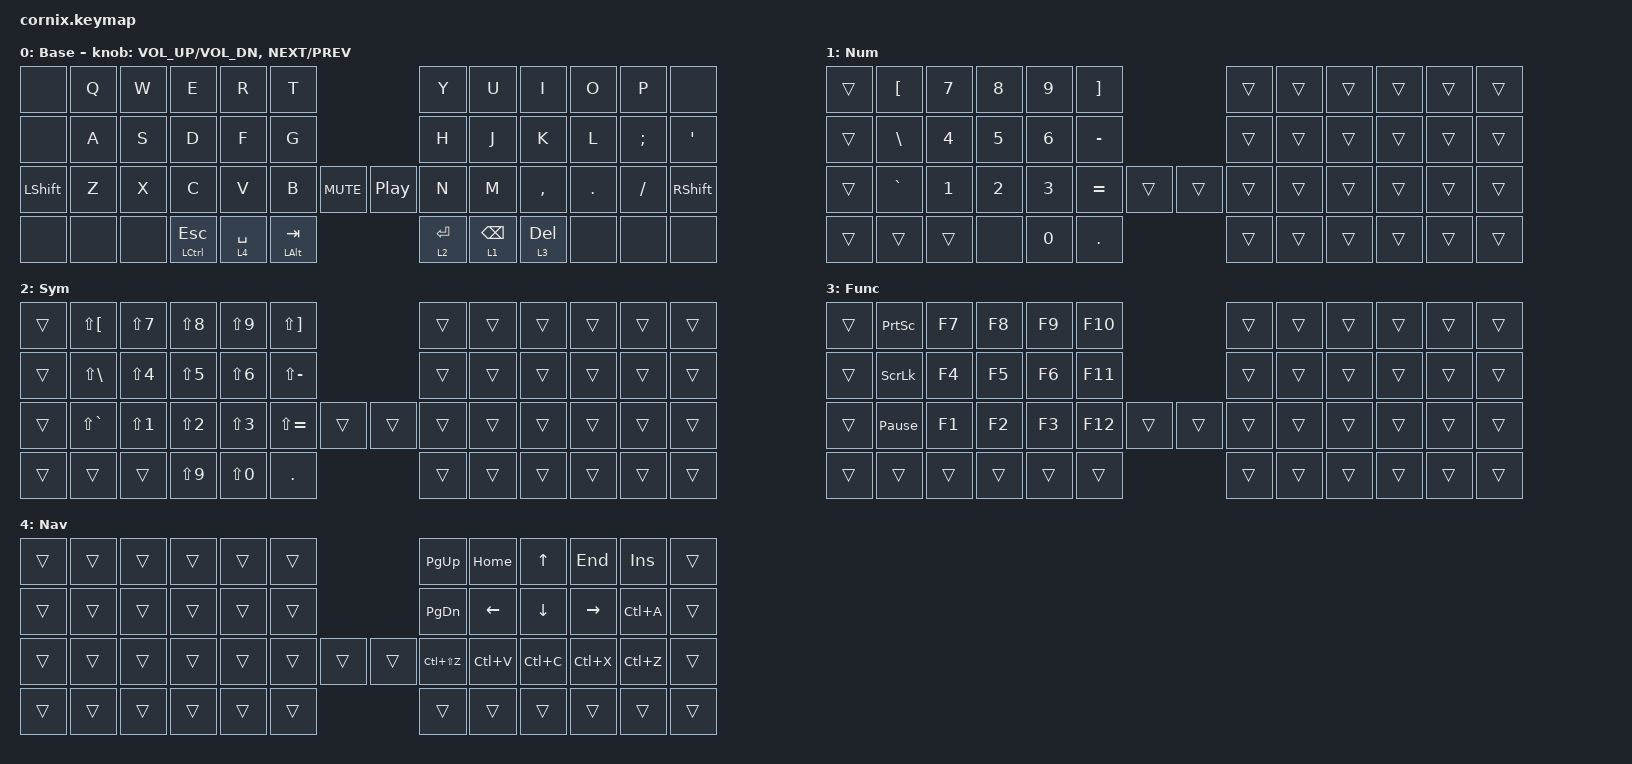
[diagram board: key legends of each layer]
/*
 * Copyright (c) 2020 The ZMK Contributors
 *
 * SPDX-License-Identifier: MIT
 */

#include "zmk-helpers/helper.h"
#include "includes/cornix54.h"

// tap windows for ctl alt and gui

#define HM_TAPPING_TERM 250
#define HM_TAPPING_REPEAT 210

// https://github.com/urob/zmk-config/tree/main#timeless-homerow-mods

#define KEYS_L LT0 LT1 LT2 LT3 LT4 LT5 LM0 LM1 LM2 LM3 LM4 LM5 LB0 LB1 LB2 LB3 LB4 LB5  // left hand
#define KEYS_R RT0 RT1 RT2 RT3 RT4 RT5 RM0 RM1 RM2 RM3 RM4 RM5 RB0 RB1 RB2 RB3 RB4 RB5  // right hand
#define THUMBS LH1 LH0 RH0 RH1
#define KEYS_T LH1 LH0 RH0 RH1
#define ZMK_POINTING_DEFAULT_SCRL_VAL 15

#include <behaviors.dtsi>
#include <dt-bindings/zmk/keys.h>

/ {
    // Activate ADJUST layer by pressing raise and lower

    behaviors {
        hr: homerow {
            compatible = "zmk,behavior-hold-tap";
            #binding-cells = <2>;
            bindings = <&kp>, <&kp>;

            flavor = "tap-preferred";
            tapping-term-ms = <180>;
            quick-tap-ms = <130>;
            require-prior-idle-ms = <130>;
            hold-trigger-on-release;
        };

        hr_shft: homerow_shift {
            compatible = "zmk,behavior-hold-tap";
            #binding-cells = <2>;
            bindings = <&kp>, <&kp>;

            flavor = "balanced";
            tapping-term-ms = <180>;
            quick-tap-ms = <130>;
        };

        sb_lt: spacebar_layertap {
            compatible = "zmk,behavior-hold-tap";
            bindings = <&mo>, <&kp>;

            #binding-cells = <2>;
            tapping-term-ms = <200>;
            quick-tap-ms = <130>;
            flavor = "balanced";
        };

        cw: capsword {
            compatible = "zmk,behavior-caps-word";
            label = "CW";
            #binding-cells = <0>;
            continue-list = <UNDERSCORE MINUS BACKSPACE>;
        };
    };

    conditional_layers { compatible = "zmk,conditional-layers"; };

    combos {
        compatible = "zmk,combos";

        cb_lgui {
            bindings = <&kp LGUI>;
            key-positions = <13 14>;
            require-prior-idle-ms = <130>;
            timeout-ms = <40>;
        };

        cb_rgui {
            bindings = <&kp RGUI>;
            key-positions = <22 21>;
            require-prior-idle-ms = <130>;
            timeout-ms = <40>;
        };

        cb_quote {
            bindings = <&kp SQT>;
            key-positions = <35 34>;
            timeout-ms = <30>;
            require-prior-idle-ms = <130>;
        };

        cb_capsword {
            bindings = <&cw>;
            key-positions = <37 24>;
            require-prior-idle-ms = <130>;
            timeout-ms = <30>;
        };

        cb_lalt {
            bindings = <&kp LEFT_ALT>;
            key-positions = <14 15>;
            require-prior-idle-ms = <130>;
            timeout-ms = <30>;
        };

        cb_lctrl {
            bindings = <&kp LCTRL>;
            key-positions = <15 16>;
            require-prior-idle-ms = <130>;
            timeout-ms = <30>;
        };

        cb_ralt {
            bindings = <&kp LALT>;
            key-positions = <20 21>;
            require-prior-idle-ms = <130>;
            timeout-ms = <30>;
        };

        cb_rctrl {
            bindings = <&kp LCTRL>;
            key-positions = <19 20>;
            require-prior-idle-ms = <130>;
            timeout-ms = <30>;
        };
    };

    keymap {
        compatible = "zmk,keymap";

        Base {
            display-name = "Base";
            bindings = <
&none      &kp Q  &kp W  &kp E             &kp R           &kp T                               &kp Y        &kp U               &kp I         &kp O    &kp P          &none
&none      &kp A  &kp S  &kp D             &kp F           &kp G                               &kp H        &kp J               &kp K         &kp L    &kp SEMICOLON  &kp SQT
&kp LSHFT  &kp Z  &kp X  &kp C             &kp V           &kp B         &kp C_MUTE  &kp C_PP  &kp N        &kp M               &kp COMMA     &kp DOT  &kp FSLH       &kp RSHFT
&none      &none  &none  &mt LCTRL ESCAPE  &sb_lt 4 SPACE  &mt LALT TAB                        &lt 2 ENTER  &sb_lt 1 BACKSPACE  &lt 3 DELETE  &none    &none          &none
            >;

            sensor-bindings =
                <&inc_dec_kp C_VOL_UP C_VOL_DN>,
                <&inc_dec_kp C_NEXT C_PREV>;
        };

        Number {
            display-name = "Num";
            bindings = <
&trans  &kp LBKT       &kp N7  &kp N8  &kp N9  &kp RBKT                   &trans  &trans  &trans  &trans  &trans  &trans
&trans  &kp BACKSLASH  &kp N4  &kp N5  &kp N6  &kp MINUS                  &trans  &trans  &trans  &trans  &trans  &trans
&trans  &kp GRAVE      &kp N1  &kp N2  &kp N3  &kp EQUAL  &trans  &trans  &trans  &trans  &trans  &trans  &trans  &trans
&trans  &trans         &trans  &none   &kp N0  &kp DOT                    &trans  &trans  &trans  &trans  &trans  &trans
            >;
        };

        Symbol {
            display-name = "Sym";
            bindings = <
&trans  &kp LS(LBKT)       &kp LS(N7)  &kp LS(N8)  &kp LS(N9)  &kp LS(RBKT)                   &trans  &trans  &trans  &trans  &trans  &trans
&trans  &kp LS(BACKSLASH)  &kp LS(N4)  &kp LS(N5)  &kp LS(N6)  &kp LS(MINUS)                  &trans  &trans  &trans  &trans  &trans  &trans
&trans  &kp LS(GRAVE)      &kp LS(N1)  &kp LS(N2)  &kp LS(N3)  &kp LS(EQUAL)  &trans  &trans  &trans  &trans  &trans  &trans  &trans  &trans
&trans  &trans             &trans      &kp LS(N9)  &kp LS(N0)  &kp DOT                        &trans  &trans  &trans  &trans  &trans  &trans
            >;
        };

        Function {
            display-name = "Func";
            bindings = <
&trans  &kp PRINTSCREEN  &kp F7  &kp F8  &kp F9  &kp F10                  &trans  &trans  &trans  &trans  &trans  &trans
&trans  &kp SLCK         &kp F4  &kp F5  &kp F6  &kp F11                  &trans  &trans  &trans  &trans  &trans  &trans
&trans  &kp PAUSE_BREAK  &kp F1  &kp F2  &kp F3  &kp F12  &trans  &trans  &trans  &trans  &trans  &trans  &trans  &trans
&trans  &trans           &trans  &trans  &trans  &trans                   &trans  &trans  &trans  &trans  &trans  &trans
            >;
        };

        Navigation {
            display-name = "Nav";
            bindings = <
&trans  &trans  &trans  &trans  &trans  &trans                  &kp PAGE_UP    &kp HOME   &kp UP     &kp END    &kp INSERT  &trans
&trans  &trans  &trans  &trans  &trans  &trans                  &kp PAGE_DOWN  &kp LEFT   &kp DOWN   &kp RIGHT  &kp LC(A)   &trans
&trans  &trans  &trans  &trans  &trans  &trans  &trans  &trans  &kp LC(LS(Z))  &kp LC(V)  &kp LC(C)  &kp LC(X)  &kp LC(Z)   &trans
&trans  &trans  &trans  &trans  &trans  &trans                  &trans         &trans     &trans     &trans     &trans      &trans
            >;
        };
    };
};
